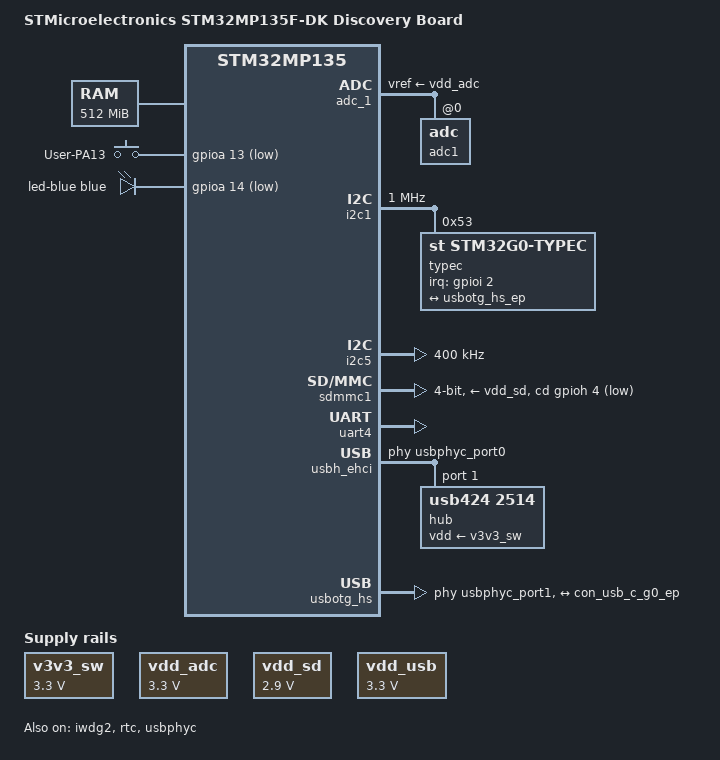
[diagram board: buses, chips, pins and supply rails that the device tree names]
// SPDX-License-Identifier: (GPL-2.0+ OR BSD-3-Clause)
/*
 * Copyright (C) STMicroelectronics 2021 - All Rights Reserved
 * Author: Alexandre Torgue <alexandre.torgue@foss.st.com> for STMicroelectronics.
 */

/dts-v1/;

#include <dt-bindings/gpio/gpio.h>
#include <dt-bindings/input/input.h>
#include <dt-bindings/leds/common.h>
#include "stm32mp135.dtsi"
#include "stm32mp13xf.dtsi"
#include "stm32mp13-pinctrl.dtsi"

/ {
	model = "STMicroelectronics STM32MP135F-DK Discovery Board";
	compatible = "st,stm32mp135f-dk", "st,stm32mp135";

	aliases {
		serial0 = &uart4;
	};

	memory@c0000000 {
		device_type = "memory";
		reg = <0xc0000000 0x20000000>;
	};

	reserved-memory {
		#address-cells = <1>;
		#size-cells = <1>;
		ranges;

		optee@dd000000 {
			reg = <0xdd000000 0x3000000>;
			no-map;
		};
	};

	gpio-keys {
		compatible = "gpio-keys";

		user-pa13 {
			label = "User-PA13";
			linux,code = <BTN_1>;
			gpios = <&gpioa 13 (GPIO_ACTIVE_LOW | GPIO_PULL_UP)>;
		};
	};

	leds {
		compatible = "gpio-leds";

		led-blue {
			function = LED_FUNCTION_HEARTBEAT;
			color = <LED_COLOR_ID_BLUE>;
			gpios = <&gpioa 14 GPIO_ACTIVE_LOW>;
			linux,default-trigger = "heartbeat";
			default-state = "off";
		};
	};

	v3v3_sw: v3v3-sw {
		compatible = "regulator-fixed";
		regulator-name = "v3v3_sw";
		regulator-min-microvolt = <3300000>;
		regulator-max-microvolt = <3300000>;
		regulator-always-on;
	};

	vdd_adc: vdd-adc {
		compatible = "regulator-fixed";
		regulator-name = "vdd_adc";
		regulator-min-microvolt = <3300000>;
		regulator-max-microvolt = <3300000>;
		regulator-always-on;
	};

	vdd_sd: vdd-sd {
		compatible = "regulator-fixed";
		regulator-name = "vdd_sd";
		regulator-min-microvolt = <2900000>;
		regulator-max-microvolt = <2900000>;
		regulator-always-on;
	};

	vdd_usb: vdd-usb {
		compatible = "regulator-fixed";
		regulator-name = "vdd_usb";
		regulator-min-microvolt = <3300000>;
		regulator-max-microvolt = <3300000>;
		regulator-always-on;
	};
};

&adc_1 {
	pinctrl-names = "default";
	pinctrl-0 = <&adc1_usb_cc_pins_a>;
	vdda-supply = <&vdd_adc>;
	vref-supply = <&vdd_adc>;
	status = "okay";
	adc1: adc@0 {
		status = "okay";
		/*
		 * Type-C USB_PWR_CC1 & USB_PWR_CC2 on in6 & in12.
		 * Use at least 5 * RC time, e.g. 5 * (Rp + Rd) * C:
		 * 5 * (5.1 + 47kOhms) * 5pF => 1.3us.
		 * Use arbitrary margin here (e.g. 5us).
		 */
		channel@6 {
			reg = <6>;
			st,min-sample-time-ns = <5000>;
		};
		channel@12 {
			reg = <12>;
			st,min-sample-time-ns = <5000>;
		};
	};
};

&i2c1 {
	pinctrl-names = "default", "sleep";
	pinctrl-0 = <&i2c1_pins_a>;
	pinctrl-1 = <&i2c1_sleep_pins_a>;
	i2c-scl-rising-time-ns = <96>;
	i2c-scl-falling-time-ns = <3>;
	clock-frequency = <1000000>;
	status = "okay";
	/* spare dmas for other usage */
	/delete-property/dmas;
	/delete-property/dma-names;

	mcp23017: pinctrl@21 {
		compatible = "microchip,mcp23017";
		reg = <0x21>;
		gpio-controller;
		#gpio-cells = <2>;
		interrupts = <12 IRQ_TYPE_LEVEL_LOW>;
		interrupt-parent = <&gpiog>;
		pinctrl-names = "default";
		pinctrl-0 = <&mcp23017_pins_a>;
		interrupt-controller;
		#interrupt-cells = <2>;
		microchip,irq-mirror;
	};

	typec@53 {
		compatible = "st,stm32g0-typec";
		reg = <0x53>;
		/* Alert pin on PI2 */
		interrupts = <2 IRQ_TYPE_EDGE_FALLING>;
		interrupt-parent = <&gpioi>;
		/* Internal pull-up on PI2 */
		pinctrl-names = "default";
		pinctrl-0 = <&stm32g0_intn_pins_a>;
		firmware-name = "stm32g0-ucsi.mp135f-dk.fw";
		connector {
			compatible = "usb-c-connector";
			label = "USB-C";

			port {
				con_usb_c_g0_ep: endpoint {
					remote-endpoint = <&usbotg_hs_ep>;
				};
			};
		};
	};
};

&i2c5 {
	pinctrl-names = "default", "sleep";
	pinctrl-0 = <&i2c5_pins_a>;
	pinctrl-1 = <&i2c5_sleep_pins_a>;
	i2c-scl-rising-time-ns = <170>;
	i2c-scl-falling-time-ns = <5>;
	clock-frequency = <400000>;
	status = "okay";
	/* spare dmas for other usage */
	/delete-property/dmas;
	/delete-property/dma-names;
};

&iwdg2 {
	timeout-sec = <32>;
	status = "okay";
};

&rtc {
	status = "okay";
};

&sdmmc1 {
	pinctrl-names = "default", "opendrain", "sleep";
	pinctrl-0 = <&sdmmc1_b4_pins_a &sdmmc1_clk_pins_a>;
	pinctrl-1 = <&sdmmc1_b4_od_pins_a &sdmmc1_clk_pins_a>;
	pinctrl-2 = <&sdmmc1_b4_sleep_pins_a>;
	cd-gpios = <&gpioh 4 (GPIO_ACTIVE_LOW | GPIO_PULL_UP)>;
	disable-wp;
	st,neg-edge;
	bus-width = <4>;
	vmmc-supply = <&vdd_sd>;
	status = "okay";
};

&spi5 {
	pinctrl-names = "default", "sleep";
	pinctrl-0 = <&spi5_pins_a>;
	pinctrl-1 = <&spi5_sleep_pins_a>;
	status = "disabled";
};

&uart4 {
	pinctrl-names = "default";
	pinctrl-0 = <&uart4_pins_a>;
	status = "okay";
};

&usbh_ehci {
	phys = <&usbphyc_port0>;
	status = "okay";
	#address-cells = <1>;
	#size-cells = <0>;
	/* onboard HUB */
	hub@1 {
		compatible = "usb424,2514";
		reg = <1>;
		vdd-supply = <&v3v3_sw>;
	};
};

&usbotg_hs {
	phys = <&usbphyc_port1 0>;
	phy-names = "usb2-phy";
	usb-role-switch;
	status = "okay";
	port {
		usbotg_hs_ep: endpoint {
			remote-endpoint = <&con_usb_c_g0_ep>;
		};
	};
};

&usbphyc {
	status = "okay";
};

&usbphyc_port0 {
	phy-supply = <&vdd_usb>;
	st,current-boost-microamp = <1000>;
	st,decrease-hs-slew-rate;
	st,tune-hs-dc-level = <2>;
	st,enable-hs-rftime-reduction;
	st,trim-hs-current = <11>;
	st,trim-hs-impedance = <2>;
	st,tune-squelch-level = <1>;
	st,enable-hs-rx-gain-eq;
	st,no-hs-ftime-ctrl;
	st,no-lsfs-sc;
};

&usbphyc_port1 {
	phy-supply = <&vdd_usb>;
	st,current-boost-microamp = <1000>;
	st,decrease-hs-slew-rate;
	st,tune-hs-dc-level = <2>;
	st,enable-hs-rftime-reduction;
	st,trim-hs-current = <11>;
	st,trim-hs-impedance = <2>;
	st,tune-squelch-level = <1>;
	st,enable-hs-rx-gain-eq;
	st,no-hs-ftime-ctrl;
	st,no-lsfs-sc;
};
